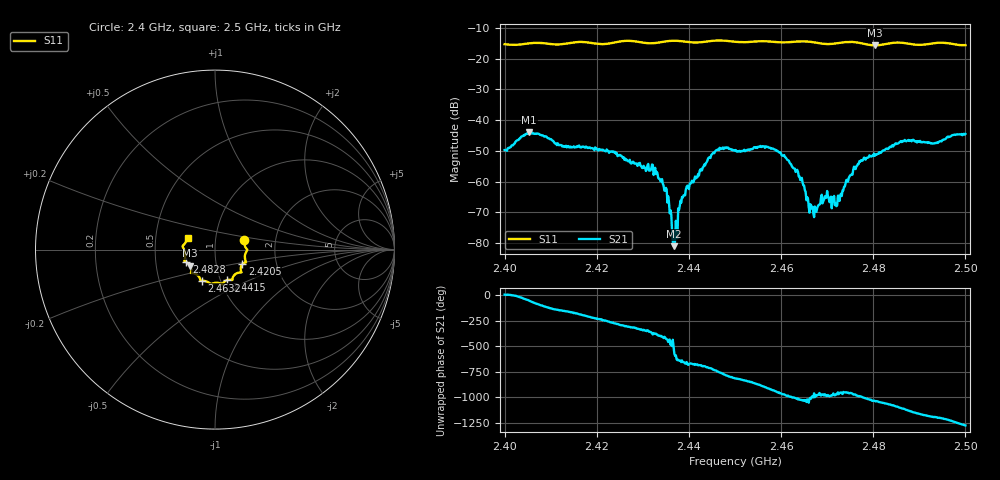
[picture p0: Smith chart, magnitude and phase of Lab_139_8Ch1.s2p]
# Hz S RI R 50
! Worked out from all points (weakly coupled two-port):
!   601 points, 2.4 GHz to 2.5 GHz, reference 50 ohm
!   highest |S21| = -43.92 dB at 2.4053 GHz (marker M1); lowest = -81.0 dB at 2.4367 GHz (marker M2)
!   lowest |S11| = -15.7 dB at 2.4803 GHz (marker M3), VSWR 1.39, Z = 37.4 - j6.85 ohm
!   |S11| at or under -10 dB: start of sweep to end of sweep
!   S12 and S22 are empty: the file has one direction only
!   S11 on the Smith chart (normalised r, x): 2.4 GHz: 1.38, +0.15; 2.4205 GHz: 1.34, -0.23; 2.4415 GHz: 1.07, -0.38; 2.4632 GHz: 0.82, -0.29; 2.4828 GHz: 0.72, -0.10; 2.5 GHz: 0.73, +0.10
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2.4e9  0.1637 0.0517  0.00324 0.00037  0 0  0 0
2.405333e9  0.1771 0.00293  0.00375 -0.00515  0 0  0 0
2.416667e9  0.1729 -0.0699  -0.00354 0.000683  0 0  0 0
2.4205e9  0.1521 -0.0818  -0.00204 0.00272  0 0  0 0
2.433333e9  0.1006 -0.1515  0.000937 -0.000659  0 0  0 0
2.435167e9  0.0973 -0.1647  0.000245 -0.000712  0 0  0 0
2.436667e9  0.0969 -0.1695  -6.79e-05 -5.82e-05  0 0  0 0
2.437e9  0.0964 -0.1696  -6.52e-05 9.02e-05  0 0  0 0
2.4385e9  0.0912 -0.1685  9.71e-05 0.000555  0 0  0 0
2.4415e9  0.0654 -0.1705  0.000837 0.000765  0 0  0 0
2.446167e9  0.0411 -0.1926  0.00294 -0.00147  0 0  0 0
2.45e9  0.0245 -0.1862  -0.000307 -0.00324  0 0  0 0
2.457167e9  -0.0269 -0.1887  -0.00357 0.000876  0 0  0 0
2.463167e9  -0.073 -0.1738  0.000478 0.00136  0 0  0 0
2.466667e9  -0.082 -0.1671  4.03e-05 0.000363  0 0  0 0
2.469833e9  -0.0975 -0.1425  -9.16e-06 0.000547  0 0  0 0
2.472167e9  -0.1199 -0.131  -0.000124 0.000391  0 0  0 0
2.476167e9  -0.1335 -0.1272  -0.000425 0.00155  0 0  0 0
2.480333e9  -0.1378 -0.0892  0.00189 0.00182  0 0  0 0
2.482833e9  -0.1588 -0.0702  0.0033 0.00097  0 0  0 0
2.483333e9  -0.1627 -0.0682  0.00341 0.000533  0 0  0 0
2.5e9  -0.1527 0.0647  -0.00569 0.00182  0 0  0 0
